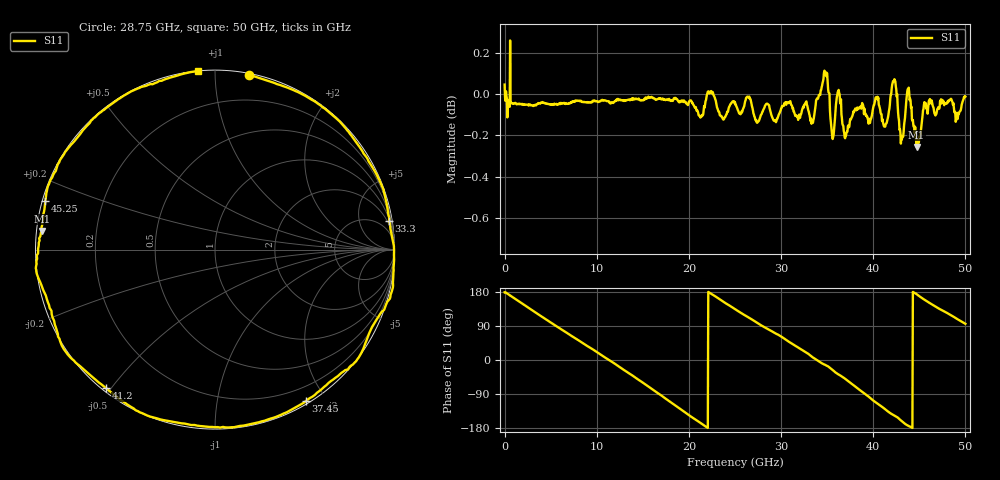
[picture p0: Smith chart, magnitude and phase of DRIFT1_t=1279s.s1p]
!Created with skrf (http://scikit-rf.org).
# Hz S RI R 50.0
!freq ReS11 ImS11
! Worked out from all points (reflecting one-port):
!   1001 points, 300 kHz to 50 GHz, reference 50 ohm
!   lowest |S11| = -0.3 dB at 44.7 GHz (marker M1), VSWR 67.94, Z = 0.738 + j2.67 ohm
!   phase of S11 starts at 179 deg and turns -803 deg over the sweep
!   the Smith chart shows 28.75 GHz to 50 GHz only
!   S11 on the Smith chart (normalised r, x): 28.75 GHz: 0.01, +1.21; 33.3 GHz: 1, +12; 37.45 GHz: 0.03, -1.77; 41.2 GHz: 0.01, -0.49; 45.25 GHz: 0.01, +0.14; 50 GHz: 0.00, +0.91
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300000  -1.005 0.025
1.70029e9  -0.8802 0.4633
3.550279e9  -0.5293 0.842
6.250262e9  0.1818 0.9781
7.900253e9  0.5888 0.8039
9.750242e9  0.9031 0.4215
1.250022e10  0.9431 -0.3236
1.400022e10  0.7285 -0.6816
1.58502e10  0.2761 -0.9594
1.72502e10  -0.1373 -0.9874
1.875019e10  -0.5509 -0.8311
2.025018e10  -0.8608 -0.5018
2.200017e10  -1 -0.0249
2.500015e10  -0.6959 0.712
2.670014e10  -0.3235 0.9431
2.875013e10  0.1873 0.9745
3.125011e10  0.737 0.6639
3.33001e10  0.9703 0.1618
3.505009e10  0.9666 -0.2823
3.745008e10  0.507 -0.8438
3.750008e10  0.4924 -0.8545
3.920006e10  -0.0154 -0.9881
4.120005e10  -0.6066 -0.7724
4.375004e10  -0.9953 -0.1239
4.470003e10  -0.9655 0.1034
4.525003e10  -0.9449 0.2719
4.740002e10  -0.6678 0.7374
5e10  -0.0967 0.994
